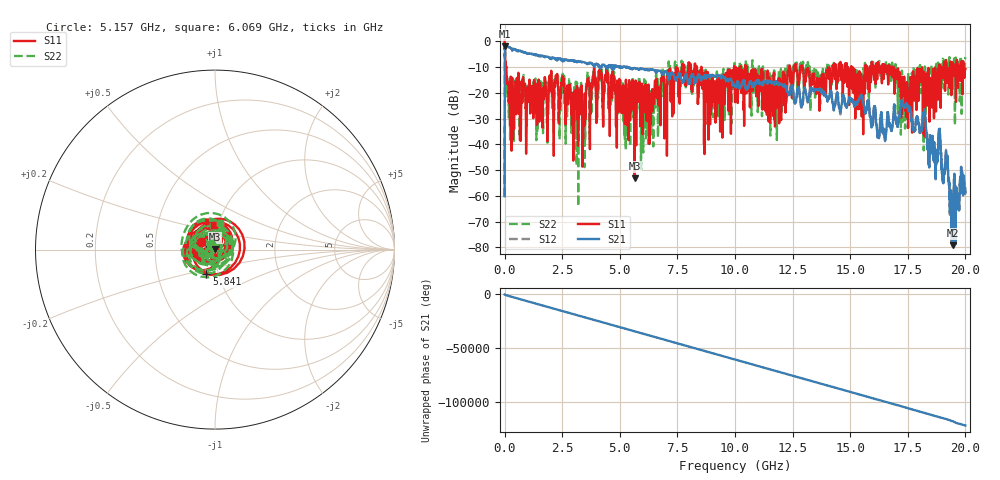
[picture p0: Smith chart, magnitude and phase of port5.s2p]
! MS46122B
! 2250307/22442219
! 2/18/2026 2:17:33 PM
! C:\USERS\SPARKY\DOCUMENTS\VNA_DATA\FEB18_2026\7K2\PORT5.S2P
! CHANNEL.1
! TR.MEASUREMENT
! RAW.DATA
# GHZ S RI R 50.0
! FREQ.GHZ  S11RE  S11IM  S21RE  S21IM  S12RE  S12IM  S22RE  S22IM
!; PortSelection: Port_12
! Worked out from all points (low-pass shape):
!   10001 points, 1 MHz to 20 GHz, reference 50 ohm
!   highest |S21| = -1.85 dB at 33 MHz (marker M1); lowest = -79.2 dB at 19.44 GHz (marker M2)
!   |S21| within 3 dB of the highest: 19.98 MHz to 1.169 GHz (1.149 GHz wide, 193 % of centre)
!   lowest |S11| = -53.2 dB at 5.643 GHz (marker M3), VSWR 1.00, Z = 50.2 + j0.0919 ohm
!   |S11| at or under -10 dB: 75.32 MHz to 3.881 GHz (3.806 GHz wide, 192 % of centre); 4.431 GHz to 7.442 GHz (3.011 GHz wide, 50.7 % of centre); 10.51 GHz to 12.35 GHz (1.843 GHz wide, 16.1 % of centre) (the widest 3 of 60)
!   |S22| runs from -64.1 to -0.1 dB; largest |S21 - S12| = 0.064
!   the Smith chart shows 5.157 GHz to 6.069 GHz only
!   S11 on the Smith chart (normalised r, x): 5.157 GHz: 0.86, +0.07; 5.841 GHz: 0.88, -0.25; 6.069 GHz: 0.95, +0.26
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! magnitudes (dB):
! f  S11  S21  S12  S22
! 1 MHz  0.4  -60.2  -60.2  -0.1
! 33 MHz  -8.9  -1.9  -2.2  -10.9
! 125 MHz  -15.9  -2.0  -2.0  -21.0
! 437 MHz  -20.8  -3.0  -3.0  -19.4
! 2.247 GHz  -15.9  -6.6  -6.6  -15.2
! 3.335 GHz  -18.6  -8.0  -8.0  -18.3
! 4.131 GHz  -12.8  -9.6  -9.6  -14.5
! 5.157 GHz  -21.3  -9.8  -9.8  -27.9
! 5.643 GHz  -53.2  -10.3  -10.3  -28.1
! 5.841 GHz  -16.7  -10.9  -10.9  -13.8
! 6.069 GHz  -17.3  -11.0  -11.0  -16.3
! 6.669 GHz  -20.7  -11.4  -11.4  -20.9
! 7.447 GHz  -9.9  -15.2  -15.1  -9.8
! 9.359 GHz  -25.5  -13.4  -13.3  -26.6
! 10 GHz  -23.6  -17.6  -16.9  -9.4
! 13.33 GHz  -16.9  -18.2  -18.3  -14.5
! 16.67 GHz  -11.7  -30.9  -30.9  -11.0
! 17.36 GHz  -17.3  -25.5  -25.6  -27.5
! 18.21 GHz  -14.6  -27.6  -27.7  -18.1
! 19.21 GHz  -15.8  -46.5  -46.7  -9.3
! 19.44 GHz  -8.5  -79.2  -79.0  -9.1
! 20 GHz  -10.7  -57.2  -58.0  -6.1
